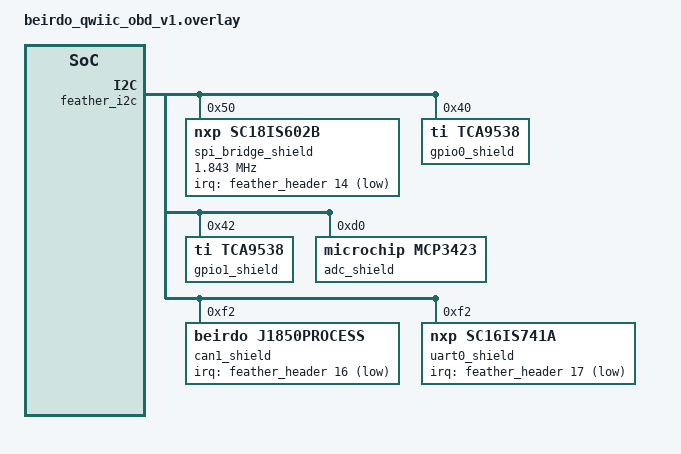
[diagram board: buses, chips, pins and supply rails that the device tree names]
#include <dt-bindings/adc/adc.h>
#include "feather_connector.dtsi"

&feather_i2c {
	/* 0x28 */
	spi_bridge_shield: spi_bridge@50 {
		compatible = "nxp,sc18is602b";
		status = "okay";
		spi-max-frequency = <1843000>;
		reg = <0x50>;
		#address-cells = <1>;
		#size-cells = <0>;
		irq-gpios = <&feather_header 14 GPIO_ACTIVE_LOW>;	/* SPI_INT -> D5 */

		can0_shield: can@0 {
			compatible = "microchip,mcp2515";
			status = "okay";
			spi-max-frequency = <10000000>;
			osc-freq = <12000000>;
			bus-speed = <1000000>;
			reg = <0>;
			irq-gpios = <&feather_header 15 GPIO_ACTIVE_LOW>;  /* CAN_INT -> D6 */
		};
	};

	/* 0x20 */
	gpio0_shield: gpio@40 {
		compatible = "ti,tca9538";
		status = "okay";
		reg = <0x40>;
	};

	/* 0x21 */
	gpio1_shield: gpio@42 {
		compatible = "ti,tca9538";
		status = "okay";
		reg = <0x42>;
	};

	/* 0x68 */
	adc_shield: adc@D0 {
		#address-cells = <1>;
		#size-cells = <0>;
		compatible = "microchip,mcp3423";
		status = "okay";
		reg = <0xD0>;

		channel@0 {
			reg = <0>;
			zephyr,gain = "ADC_GAIN_1";
			zephyr,reference = "ADC_REF_INTERNAL";
			/* 16 bits, 15 SPS. */
			zephyr,acquisition-time = <ADC_ACQ_TIME_DEFAULT>;
			zephyr,resolution = <16>;
			zephyr,vref-mv = <2048>;
		};

		channel@1 {
			reg = <1>;
			zephyr,gain = "ADC_GAIN_1";
			zephyr,reference = "ADC_REF_INTERNAL";
			/* 16 bits, 15 SPS. */
			zephyr,acquisition-time = <ADC_ACQ_TIME_DEFAULT>;
			zephyr,resolution = <16>;
			zephyr,vref-mv = <2048>;
		};
	};

	/* 0x79 */
	can1_shield: j1850@F2 {
		compatible = "beirdo,j1850process";
		status = "okay";
		reg = <0xF2>;
		irq-gpios = <&feather_header 16 GPIO_ACTIVE_LOW>;	/* J1850_INT -> D9 */
	};

	/* 0x4D */
	uart0_shield: uart@9A {
		compatible = "nxp,sc16is741a";
		status = "okay";
		current-speed = <10400>;
		reg = <0xF2>;
		irq-gpios = <&feather_header 17 GPIO_ACTIVE_LOW>;	/* UART_INT -> D10 */
	};
};
